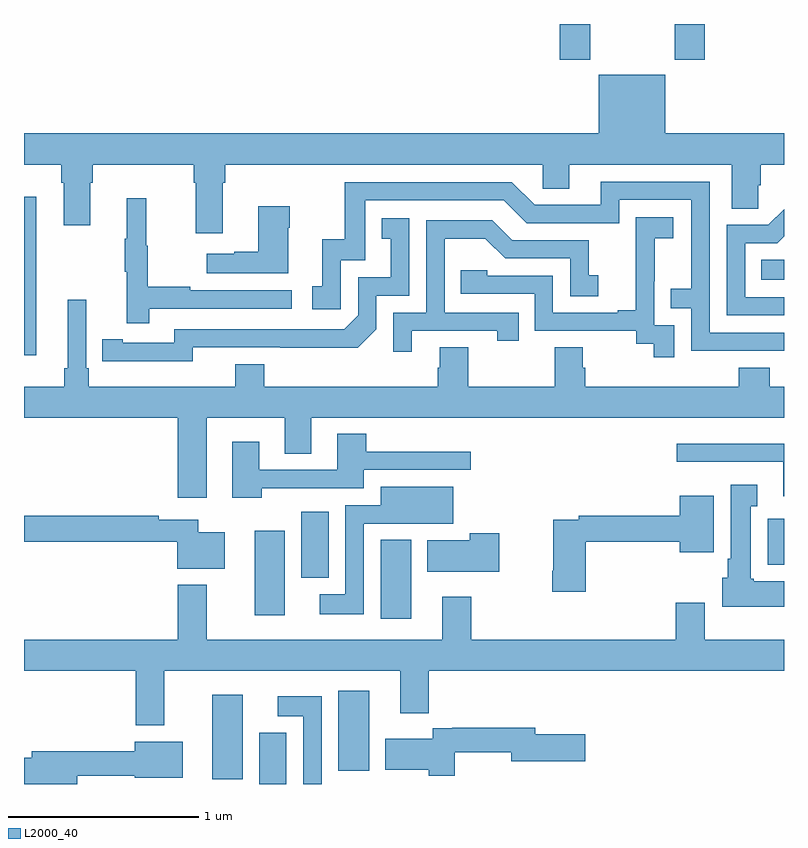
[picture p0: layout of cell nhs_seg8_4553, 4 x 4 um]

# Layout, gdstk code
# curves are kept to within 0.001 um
import gdstk
lib = gdstk.Library(unit=1e-6, precision=1e-09)
def R(c, l, rs):  # rectangles x0, y0, x1, y1
    for r in rs: c.add(gdstk.rectangle(r[:2], r[2:], *l))
def P(c, l, *ps):  # polygons
    for p in ps: c.add(gdstk.Polygon(p, *l))
L2000_40 = (2000, 40)

nhs_seg8_4553 = lib.new_cell('nhs_seg8_4553')
R(nhs_seg8_4553, L2000_40, [(388.238,1119.9,388.381,1120.171), (387.992,1119.924,388.15,1120.369), (388.655,1119.971,388.816,1120.39), (388.877,1120.77,389.038,1121.185), (388.214,1120.788,388.372,1121.233), (388.46,1120.985,388.603,1121.332), (390.914,1121.054,391,1121.296), (387,1122.156,387.064,1122.991), (390.88,1122.554,391,1122.658), (389.819,1123.713,389.979,1123.9), (390.424,1123.713,390.584,1123.9)])
P(nhs_seg8_4553, L2000_40, [(388.045,1123.064),(388.058,1123.064),(388.058,1123.16),(389.73,1123.16),(389.73,1123.033),(389.869,1123.033),(389.869,1123.16),(390.725,1123.16),(390.725,1122.928),(390.864,1122.928),(390.864,1123.051),(390.878,1123.051),(390.878,1123.16),(391,1123.16),(391,1123.324),(390.376,1123.324),(390.376,1123.633),(390.026,1123.633),(390.026,1123.324),(387,1123.324),(387,1123.16),(387.197,1123.16),(387.197,1123.064),(387.209,1123.064),(387.209,1122.84),(387.349,1122.84),(387.349,1123.064),(387.362,1123.064),(387.362,1123.16),(387.893,1123.16),(387.893,1123.064),(387.905,1123.064),(387.905,1122.798),(388.045,1122.798)],
  [(391,1122.276),(390.609,1122.276),(390.609,1123.071),(390.035,1123.071),(390.035,1122.948),(389.688,1122.948),(389.568,1123.068),(388.689,1123.068),(388.689,1122.766),(388.571,1122.766),(388.571,1122.519),(388.518,1122.519),(388.518,1122.399),(388.668,1122.399),(388.668,1122.657),(388.797,1122.657),(388.797,1122.972),(389.526,1122.972),(389.646,1122.852),(390.132,1122.852),(390.132,1122.975),(390.513,1122.975),(390.513,1122.506),(390.403,1122.506),(390.403,1122.405),(390.513,1122.405),(390.513,1122.18),(391,1122.18)],
  [(387.659,1122.402),(388.408,1122.402),(388.408,1122.498),(387.875,1122.498),(387.875,1122.518),(387.652,1122.518),(387.652,1122.732),(387.644,1122.732),(387.644,1122.982),(387.542,1122.982),(387.542,1122.769),(387.531,1122.769),(387.531,1122.595),(387.542,1122.595),(387.542,1122.324),(387.659,1122.324)],
  [(388.39,1122.827),(388.398,1122.827),(388.398,1122.94),(388.232,1122.94),(388.232,1122.701),(388.106,1122.701),(388.106,1122.691),(387.963,1122.691),(387.963,1122.587),(388.39,1122.587)],
  [(391,1122.462),(390.795,1122.462),(390.795,1122.747),(390.964,1122.747),(391,1122.783),(391,1122.925),(390.918,1122.843),(390.699,1122.843),(390.699,1122.366),(391,1122.366)],
  [(390.423,1122.315),(390.318,1122.315),(390.318,1122.545),(390.32,1122.545),(390.32,1122.773),(390.418,1122.773),(390.418,1122.883),(390.22,1122.883),(390.22,1122.677),(390.221,1122.677),(390.221,1122.394),(390.125,1122.394),(390.125,1122.381),(389.784,1122.381),(389.784,1122.576),(389.439,1122.576),(389.439,1122.603),(389.299,1122.603),(389.299,1122.48),(389.688,1122.48),(389.688,1122.285),(390.222,1122.285),(390.222,1122.217),(390.315,1122.217),(390.315,1122.147),(390.423,1122.147)],
  [(387.888,1122.198),(388.756,1122.197),(388.854,1122.294),(388.854,1122.471),(389.028,1122.471),(389.028,1122.877),(388.882,1122.877),(388.882,1122.771),(388.931,1122.771),(388.931,1122.567),(388.758,1122.567),(388.758,1122.366),(388.686,1122.294),(387.792,1122.294),(387.792,1122.222),(387.52,1122.222),(387.52,1122.242),(387.412,1122.242),(387.412,1122.126),(387.888,1122.125)],
  [(389.041,1122.285),(389.492,1122.285),(389.492,1122.234),(389.603,1122.234),(389.603,1122.381),(389.214,1122.381),(389.214,1122.77),(389.428,1122.77),(389.532,1122.666),(389.874,1122.666),(389.874,1122.468),(390.022,1122.468),(390.022,1122.577),(389.973,1122.577),(389.973,1122.762),(389.569,1122.762),(389.464,1122.867),(389.118,1122.867),(389.118,1122.381),(388.944,1122.381),(388.944,1122.174),(389.041,1122.174)],
  [(387.961,1121.828),(388.373,1121.828),(388.373,1121.638),(388.513,1121.638),(388.513,1121.828),(391,1121.828),(391,1121.992),(390.926,1121.992),(390.926,1122.091),(390.761,1122.091),(390.761,1121.992),(389.954,1121.992),(389.954,1122.09),(389.941,1122.09),(389.941,1122.2),(389.794,1122.2),(389.794,1121.992),(389.337,1121.992),(389.337,1122.2),(389.189,1122.2),(389.189,1122.09),(389.177,1122.09),(389.177,1121.992),(388.265,1121.992),(388.265,1122.109),(388.112,1122.109),(388.112,1121.992),(387.341,1121.992),(387.341,1122.088),(387.327,1122.088),(387.327,1122.448),(387.23,1122.448),(387.23,1122.088),(387.211,1122.088),(387.211,1121.992),(387,1121.992),(387,1121.828),(387.809,1121.828),(387.809,1121.406),(387.961,1121.406)],
  [(388.25,1121.457),(388.789,1121.457),(388.789,1121.553),(389.35,1121.553),(389.35,1121.65),(388.802,1121.65),(388.802,1121.743),(388.649,1121.743),(388.649,1121.553),(388.237,1121.553),(388.237,1121.701),(388.097,1121.701),(388.097,1121.406),(388.25,1121.406)],
  [(391,1121.692),(390.435,1121.692),(390.435,1121.595),(390.995,1121.595),(390.995,1121.415),(391,1121.415)],
  [(391,1120.966),(390.84,1120.966),(390.84,1120.98),(390.826,1120.98),(390.826,1121.363),(390.859,1121.363),(390.859,1121.476),(390.719,1121.476),(390.719,1121.086),(390.704,1121.086),(390.704,1120.986),(390.674,1120.986),(390.674,1120.832),(391,1120.832)],
  [(388.788,1121.271),(389.034,1121.271),(389.034,1121.27),(389.26,1121.27),(389.26,1121.464),(388.877,1121.464),(388.877,1121.367),(388.692,1121.367),(388.692,1120.9),(388.557,1120.9),(388.557,1120.793),(388.788,1120.793)],
  [(389.957,1121.176),(390.452,1121.176),(390.452,1121.12),(390.631,1121.12),(390.631,1121.416),(390.452,1121.416),(390.452,1121.312),(389.92,1121.312),(389.92,1121.292),(389.786,1121.292),(389.786,1121.023),(389.779,1121.023),(389.779,1120.911),(389.957,1120.911)],
  [(388.057,1121.224),(387.916,1121.224),(387.916,1121.292),(387.71,1121.292),(387.71,1121.312),(387,1121.312),(387,1121.176),(387.806,1121.176),(387.806,1121.033),(388.057,1121.033)],
  [(389.5,1121.22),(389.346,1121.22),(389.346,1121.182),(389.123,1121.182),(389.123,1121.018),(389.5,1121.018)],
  [(387.739,1120.496),(388.979,1120.496),(388.979,1120.272),(389.131,1120.272),(389.131,1120.496),(391,1120.496),(391,1120.66),(390.583,1120.66),(390.583,1120.855),(390.431,1120.855),(390.431,1120.66),(389.354,1120.66),(389.354,1120.885),(389.201,1120.885),(389.201,1120.66),(387.961,1120.66),(387.961,1120.948),(387.809,1120.948),(387.809,1120.66),(387,1120.66),(387,1120.496),(387.587,1120.496),(387.587,1120.208),(387.739,1120.208)],
  [(388.566,1120.363),(388.335,1120.363),(388.335,1120.256),(388.47,1120.256),(388.47,1119.9),(388.566,1119.9)],
  [(389.268,1120.066),(389.564,1120.066),(389.564,1120.019),(389.953,1120.019),(389.953,1120.161),(389.692,1120.161),(389.692,1120.195),(389.254,1120.195),(389.254,1120.193),(389.151,1120.193),(389.151,1120.138),(388.901,1120.138),(388.901,1119.974),(389.131,1119.974),(389.131,1119.944),(389.268,1119.944)],
  [(387.28,1119.943),(387.584,1119.943),(387.584,1119.932),(387.835,1119.932),(387.835,1120.123),(387.584,1120.123),(387.584,1120.072),(387.041,1120.072),(387.041,1120.038),(387,1120.038),(387,1119.9),(387.28,1119.9)])

lib.write_gds('nhs_seg8_4553.gds')
